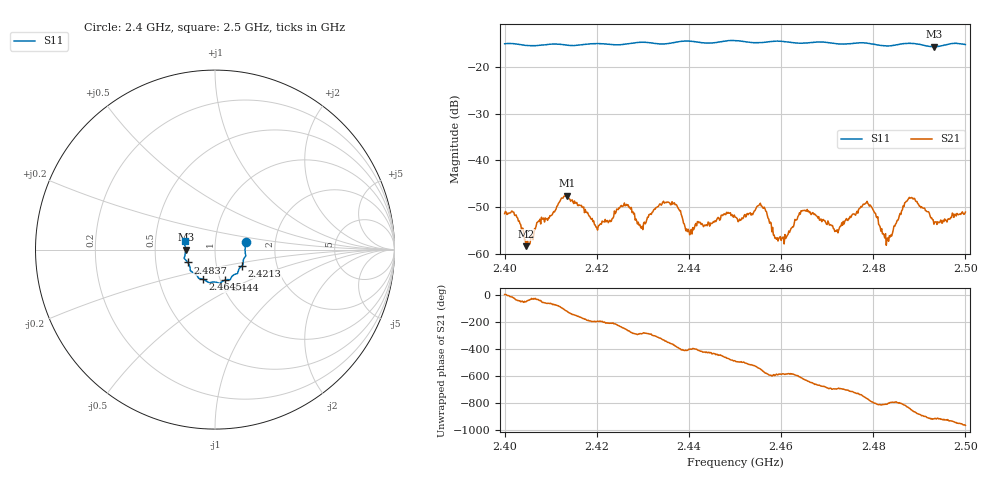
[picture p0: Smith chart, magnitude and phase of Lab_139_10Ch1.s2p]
# Hz S RI R 50
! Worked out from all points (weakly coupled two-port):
!   601 points, 2.4 GHz to 2.5 GHz, reference 50 ohm
!   highest |S21| = -47.56 dB at 2.4135 GHz (marker M1); lowest = -58.3 dB at 2.4047 GHz (marker M2)
!   lowest |S11| = -15.7 dB at 2.4932 GHz (marker M3), VSWR 1.39, Z = 36 - j0.0549 ohm
!   |S11| at or under -10 dB: start of sweep to end of sweep
!   S12 and S22 are empty: the file has one direction only
!   S11 on the Smith chart (normalised r, x): 2.4 GHz: 1.41, +0.12; 2.4213 GHz: 1.33, -0.25; 2.444 GHz: 1.06, -0.37; 2.4645 GHz: 0.83, -0.29; 2.4837 GHz: 0.73, -0.11; 2.5 GHz: 0.71, +0.07
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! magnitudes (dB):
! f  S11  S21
! 2.4 GHz  -15.1  -51.4
! 2.4047 GHz  -15.4  -58.3
! 2.4135 GHz  -15.4  -47.6
! 2.4167 GHz  -15.3  -49.6
! 2.4213 GHz  -15.1  -53.1
! 2.4263 GHz  -15.2  -49.6
! 2.4297 GHz  -14.8  -54.5
! 2.4333 GHz  -15.1  -49.9
! 2.4398 GHz  -14.5  -54.7
! 2.444 GHz  -14.9  -54.0
! 2.45 GHz  -14.4  -52.1
! 2.4558 GHz  -14.8  -49.8
! 2.4602 GHz  -14.6  -56.7
! 2.4645 GHz  -15.0  -50.9
! 2.4667 GHz  -14.8  -51.5
! 2.472 GHz  -15.1  -55.2
! 2.4788 GHz  -15.0  -49.2
! 2.4833 GHz  -15.6  -57.3
! 2.4837 GHz  -15.5  -56.4
! 2.488 GHz  -15.0  -48.1
! 2.4932 GHz  -15.7  -53.6
! 2.5 GHz  -15.3  -51.1
